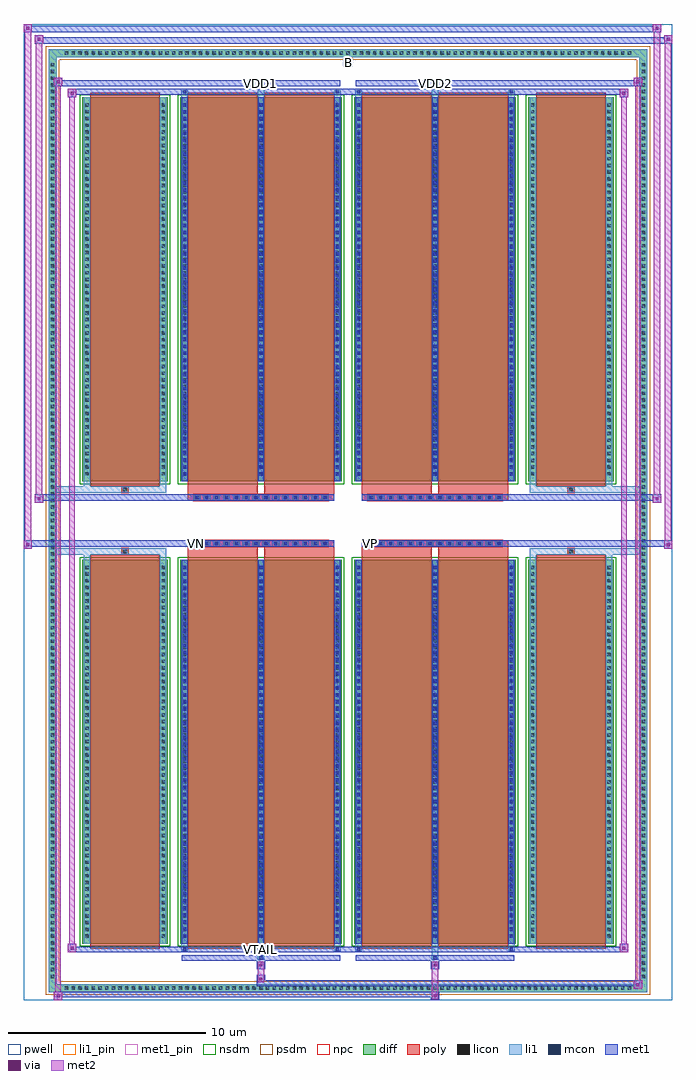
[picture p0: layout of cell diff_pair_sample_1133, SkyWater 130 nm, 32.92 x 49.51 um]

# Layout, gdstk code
import gdstk
lib = gdstk.Library(unit=1e-6, precision=5e-09)
def R(c, l, rs):  # rectangles x0, y0, x1, y1
    for r in rs: c.add(gdstk.rectangle(r[:2], r[2:], *l))
def A(c, l, x, y, w, h, nx, ny, dx, dy):  # array of equal rectangles
    R(c, l, [(x+i*dx, y+j*dy, x+i*dx+w, y+j*dy+h) for i in range(nx) for j in range(ny)])
def P(c, l, *ps):  # polygons
    for p in ps: c.add(gdstk.Polygon(p, *l))
pwell = (64, 44)
diff = (65, 20)
poly = (66, 20)
licon = (66, 44)
li1_pin = (67, 16)
li1 = (67, 20)
mcon = (67, 44)
met1_pin = (68, 16)
met1 = (68, 20)
via = (68, 44)
met2 = (69, 20)
nsdm = (93, 44)
psdm = (94, 20)
npc = (95, 20)

diff_pair_sample_1133 = lib.new_cell('diff_pair_sample_1133')
R(diff_pair_sample_1133, pwell, [(-16.46,-24.32,16.46,25.19), (-13.78,-22.51,-0.01,-0.805), (0.01,-22.51,13.78,-0.805), (-13.78,0.805,-0.01,22.51), (0.01,0.805,13.78,22.51)])
A(diff_pair_sample_1133, diff, -14.485, -23.92, 0.41, 0.41, 85, 2, 0.34, 47.43)
A(diff_pair_sample_1133, diff, -15.19, -23.325, 0.41, 0.41, 1, 137, 0, 0.34)
A(diff_pair_sample_1133, diff, 14.78, -23.325, 0.41, 0.41, 1, 137, 0, 0.34)
R(diff_pair_sample_1133, diff, [(-14.485,-23.92,14.485,-23.51), (-15.19,-23.325,-14.78,23.325), (14.78,-23.325,15.19,23.325), (-13.47,-21.465,-9.15,-1.985), (-8.51,-21.465,-0.32,-1.985), (0.32,-21.465,8.51,-1.985), (9.15,-21.465,13.47,-1.985), (-13.47,1.985,-9.15,21.465), (-8.51,1.985,-0.32,21.465), (0.32,1.985,8.51,21.465), (9.15,1.985,13.47,21.465), (-14.485,23.51,14.485,23.92)])
P(diff_pair_sample_1133, diff, [(15.19,23.92),(-15.19,23.92),(-15.19,-23.51),(-14.78,-23.51),(-14.78,23.51),(14.78,23.51),(14.78,-23.51),(-14.78,-23.51),(-15.19,-23.51),(-15.19,-23.92),(15.19,-23.92)])
A(diff_pair_sample_1133, poly, -7.83, -1.335, 0.33, 0.33, 14, 2, 0.5, 2.34)
A(diff_pair_sample_1133, poly, 1, -1.335, 0.33, 0.33, 14, 2, 0.5, 2.34)
R(diff_pair_sample_1133, poly, [(-13.08,-21.715,-9.54,-1.735), (-8.12,-21.715,-4.58,-1.735), (-4.25,-21.715,-0.71,-1.735), (0.71,-21.715,4.25,-1.735), (4.58,-21.715,8.12,-1.735), (9.54,-21.715,13.08,-1.735), (-11.475,-1.735,-11.145,-1.405), (-11.475,-1.735,-11.145,-1.405), (-8.12,-1.735,-4.58,-1.335), (-4.25,-1.735,-0.71,-1.335), (0.71,-1.735,4.25,-1.335), (4.58,-1.735,8.12,-1.335), (11.145,-1.735,11.475,-1.405), (11.145,-1.735,11.475,-1.405), (-8.12,-1.335,-0.71,-1.005), (0.71,-1.335,8.12,-1.005), (-8.12,1.005,-0.71,1.335), (0.71,1.005,8.12,1.335), (-8.12,1.335,-4.58,1.735), (-4.25,1.335,-0.71,1.735), (0.71,1.335,4.25,1.735), (4.58,1.335,8.12,1.735), (-11.475,1.405,-11.145,1.735), (-11.475,1.405,-11.145,1.735), (11.145,1.405,11.475,1.735), (11.145,1.405,11.475,1.735), (-13.08,1.735,-9.54,21.715), (-8.12,1.735,-4.58,21.715), (-4.25,1.735,-0.71,21.715), (0.71,1.735,4.25,21.715), (4.58,1.735,8.12,21.715), (9.54,1.735,13.08,21.715)])
A(diff_pair_sample_1133, licon, -14.365, -23.8, 0.17, 0.17, 85, 2, 0.34, 47.43)
A(diff_pair_sample_1133, licon, -15.07, -23.205, 0.17, 0.17, 1, 137, 0, 0.34)
A(diff_pair_sample_1133, licon, 14.9, -23.205, 0.17, 0.17, 1, 137, 0, 0.34)
A(diff_pair_sample_1133, licon, -13.33, -21.16, 0.17, 0.17, 1, 56, 0, 0.34)
A(diff_pair_sample_1133, licon, -9.46, -21.16, 0.17, 0.17, 1, 56, 0, 0.34)
A(diff_pair_sample_1133, licon, -8.37, -21.16, 0.17, 0.17, 3, 56, 3.87, 0.34)
A(diff_pair_sample_1133, licon, 0.46, -21.16, 0.17, 0.17, 3, 56, 3.87, 0.34)
A(diff_pair_sample_1133, licon, 9.29, -21.16, 0.17, 0.17, 1, 56, 0, 0.34)
A(diff_pair_sample_1133, licon, 13.16, -21.16, 0.17, 0.17, 1, 56, 0, 0.34)
A(diff_pair_sample_1133, licon, -7.75, -1.255, 0.17, 0.17, 14, 2, 0.5, 2.34)
A(diff_pair_sample_1133, licon, 1.08, -1.255, 0.17, 0.17, 14, 2, 0.5, 2.34)
A(diff_pair_sample_1133, licon, -13.33, 2.29, 0.17, 0.17, 1, 56, 0, 0.34)
A(diff_pair_sample_1133, licon, -9.46, 2.29, 0.17, 0.17, 1, 56, 0, 0.34)
A(diff_pair_sample_1133, licon, -8.37, 2.29, 0.17, 0.17, 3, 56, 3.87, 0.34)
A(diff_pair_sample_1133, licon, 0.46, 2.29, 0.17, 0.17, 3, 56, 3.87, 0.34)
A(diff_pair_sample_1133, licon, 9.29, 2.29, 0.17, 0.17, 1, 56, 0, 0.34)
A(diff_pair_sample_1133, licon, 13.16, 2.29, 0.17, 0.17, 1, 56, 0, 0.34)
R(diff_pair_sample_1133, licon, [(-11.395,-1.655,-11.225,-1.485), (11.225,-1.655,11.395,-1.485), (-11.395,1.485,-11.225,1.655), (11.225,1.485,11.395,1.655)])
R(diff_pair_sample_1133, li1_pin, [(-0.25,23.01,0.25,23.51)])
A(diff_pair_sample_1133, li1, -14.445, -23.88, 0.33, 0.33, 85, 2, 0.34, 47.43)
A(diff_pair_sample_1133, li1, -15.15, -23.285, 0.33, 0.33, 1, 137, 0, 0.34)
A(diff_pair_sample_1133, li1, 14.82, -23.285, 0.33, 0.33, 1, 137, 0, 0.34)
A(diff_pair_sample_1133, li1, -8.45, -21.465, 0.33, 19.48, 3, 2, 3.87, 23.45)
A(diff_pair_sample_1133, li1, 0.38, -21.465, 0.33, 19.48, 3, 2, 3.87, 23.45)
A(diff_pair_sample_1133, li1, -13.41, -21.24, 0.33, 0.33, 1, 56, 0, 0.34)
A(diff_pair_sample_1133, li1, -9.54, -21.24, 0.33, 0.33, 1, 56, 0, 0.34)
A(diff_pair_sample_1133, li1, -8.45, -21.24, 0.33, 0.33, 3, 56, 3.87, 0.34)
A(diff_pair_sample_1133, li1, 0.38, -21.24, 0.33, 0.33, 3, 56, 3.87, 0.34)
A(diff_pair_sample_1133, li1, 9.21, -21.24, 0.33, 0.33, 1, 56, 0, 0.34)
A(diff_pair_sample_1133, li1, 13.08, -21.24, 0.33, 0.33, 1, 56, 0, 0.34)
A(diff_pair_sample_1133, li1, -8.37, -21.17, 0.17, 0.17, 3, 53, 3.87, 0.36)
A(diff_pair_sample_1133, li1, -8.37, -21.17, 0.17, 18.89, 3, 2, 3.87, 23.45)
A(diff_pair_sample_1133, li1, 0.46, -21.17, 0.17, 0.17, 3, 53, 3.87, 0.36)
A(diff_pair_sample_1133, li1, 0.46, -21.17, 0.17, 18.89, 3, 2, 3.87, 23.45)
A(diff_pair_sample_1133, li1, -7.83, -1.335, 0.33, 0.33, 14, 2, 0.5, 2.34)
A(diff_pair_sample_1133, li1, 1, -1.335, 0.33, 0.33, 14, 2, 0.5, 2.34)
A(diff_pair_sample_1133, li1, -13.41, 2.21, 0.33, 0.33, 1, 56, 0, 0.34)
A(diff_pair_sample_1133, li1, -9.54, 2.21, 0.33, 0.33, 1, 56, 0, 0.34)
A(diff_pair_sample_1133, li1, -8.45, 2.21, 0.33, 0.33, 3, 56, 3.87, 0.34)
A(diff_pair_sample_1133, li1, 0.38, 2.21, 0.33, 0.33, 3, 56, 3.87, 0.34)
A(diff_pair_sample_1133, li1, 9.21, 2.21, 0.33, 0.33, 1, 56, 0, 0.34)
A(diff_pair_sample_1133, li1, 13.08, 2.21, 0.33, 0.33, 1, 56, 0, 0.34)
A(diff_pair_sample_1133, li1, -8.37, 2.28, 0.17, 0.17, 3, 53, 3.87, 0.36)
A(diff_pair_sample_1133, li1, 0.46, 2.28, 0.17, 0.17, 3, 53, 3.87, 0.36)
R(diff_pair_sample_1133, li1, [(-15.19,-23.92,-14.78,-23.51), (-15.19,-23.92,-14.78,-23.51), (-14.78,-23.92,14.78,-23.51), (14.78,-23.92,15.19,-23.51), (14.78,-23.92,15.19,-23.51), (-15.19,-23.51,-14.78,23.51), (14.78,-23.51,15.19,23.51), (-4.58,-22.27,-4.25,-21.465), (-4.5,-22.27,-4.33,-22.1), (4.25,-22.27,4.58,-21.465), (4.33,-22.27,4.5,-22.1), (-8.45,-21.84,-8.12,-21.465), (-8.37,-21.84,-8.2,-21.67), (-0.71,-21.84,-0.38,-21.465), (-0.63,-21.84,-0.46,-21.67), (0.38,-21.84,0.71,-21.465), (0.46,-21.84,0.63,-21.67), (8.12,-21.84,8.45,-21.465), (8.2,-21.84,8.37,-21.67), (-13.41,-21.465,-13.08,-1.985), (-9.54,-21.465,-9.21,-1.985), (9.21,-21.465,9.54,-1.985), (13.08,-21.465,13.41,-1.985), (-13.41,-1.985,-13.08,-1.405), (-9.54,-1.985,-9.21,-1.405), (9.21,-1.985,9.54,-1.405), (13.08,-1.985,13.41,-1.405), (-15.19,-1.735,-11.475,-1.405), (-13.41,-1.735,-11.475,-1.405), (-11.475,-1.735,-11.145,-1.405), (-11.145,-1.735,-9.21,-1.405), (9.21,-1.735,11.145,-1.405), (11.145,-1.735,11.475,-1.405), (11.145,-1.735,15.19,-1.405), (11.475,-1.735,13.41,-1.405), (-15.19,1.405,-11.475,1.735), (-13.41,1.405,-11.475,1.735), (-13.41,1.405,-13.08,1.985), (-11.475,1.405,-11.145,1.735), (-11.145,1.405,-9.21,1.735), (-9.54,1.405,-9.21,1.985), (9.21,1.405,11.145,1.735), (9.21,1.405,9.54,1.985), (11.145,1.405,11.475,1.735), (11.145,1.405,15.19,1.735), (11.475,1.405,13.41,1.735), (13.08,1.405,13.41,1.985), (-13.41,1.985,-13.08,21.465), (-9.54,1.985,-9.21,21.465), (9.21,1.985,9.54,21.465), (13.08,1.985,13.41,21.465), (-8.45,21.465,-8.12,21.84), (-4.58,21.465,-4.25,22.27), (-0.71,21.465,-0.38,21.84), (0.38,21.465,0.71,21.84), (4.25,21.465,4.58,22.27), (8.12,21.465,8.45,21.84), (-8.37,21.67,-8.2,21.84), (-0.63,21.67,-0.46,21.84), (0.46,21.67,0.63,21.84), (8.2,21.67,8.37,21.84), (-4.5,22.1,-4.33,22.27), (4.33,22.1,4.5,22.27), (-15.19,23.51,-14.78,23.92), (-15.19,23.51,-14.78,23.92), (-14.78,23.51,14.78,23.92), (14.78,23.51,15.19,23.92), (14.78,23.51,15.19,23.92)])
A(diff_pair_sample_1133, mcon, -8.37, -21.17, 0.17, 0.17, 3, 53, 3.87, 0.36)
A(diff_pair_sample_1133, mcon, 0.46, -21.17, 0.17, 0.17, 3, 53, 3.87, 0.36)
A(diff_pair_sample_1133, mcon, -7.75, -1.255, 0.17, 0.17, 14, 2, 0.5, 2.34)
A(diff_pair_sample_1133, mcon, 1.08, -1.255, 0.17, 0.17, 14, 2, 0.5, 2.34)
A(diff_pair_sample_1133, mcon, -8.37, 2.28, 0.17, 0.17, 3, 53, 3.87, 0.36)
A(diff_pair_sample_1133, mcon, 0.46, 2.28, 0.17, 0.17, 3, 53, 3.87, 0.36)
R(diff_pair_sample_1133, mcon, [(-4.5,-22.27,-4.33,-22.1), (4.33,-22.27,4.5,-22.1), (-8.37,-21.84,-8.2,-21.67), (-0.63,-21.84,-0.46,-21.67), (0.46,-21.84,0.63,-21.67), (8.2,-21.84,8.37,-21.67), (-8.37,21.67,-8.2,21.84), (-0.63,21.67,-0.46,21.84), (0.46,21.67,0.63,21.84), (8.2,21.67,8.37,21.84), (-4.5,22.1,-4.33,22.27), (4.33,22.1,4.5,22.27)])
R(diff_pair_sample_1133, met1_pin, [(-4.55,-21.88,-4.28,-21.61), (-7.8,-1.295,-7.53,-1.025), (1.03,-1.295,1.3,-1.025), (-4.55,22.06,-4.28,22.33), (4.28,22.06,4.55,22.33)])
A(diff_pair_sample_1133, met1, -8.43, -21.465, 0.29, 19.48, 3, 2, 3.87, 23.45)
A(diff_pair_sample_1133, met1, 0.4, -21.465, 0.29, 19.48, 3, 2, 3.87, 23.45)
A(diff_pair_sample_1133, met1, -8.43, -21.23, 0.29, 0.29, 3, 53, 3.87, 0.36)
A(diff_pair_sample_1133, met1, 0.4, -21.23, 0.29, 0.29, 3, 53, 3.87, 0.36)
A(diff_pair_sample_1133, met1, -7.81, -1.315, 0.29, 0.29, 14, 2, 0.5, 2.34)
A(diff_pair_sample_1133, met1, 1.02, -1.315, 0.29, 0.29, 14, 2, 0.5, 2.34)
A(diff_pair_sample_1133, met1, -8.43, 2.22, 0.29, 0.29, 3, 53, 3.87, 0.36)
A(diff_pair_sample_1133, met1, 0.4, 2.22, 0.29, 0.29, 3, 53, 3.87, 0.36)
R(diff_pair_sample_1133, met1, [(-14.92,-24.32,-14.49,-23.89), (4.2,-24.32,4.63,-23.89), (-14.92,-24.18,4.63,-23.89), (14.49,-23.75,14.92,-23.32), (-4.63,-23.61,14.92,-23.32), (-4.63,-23.47,-4.2,-23.04), (-4.63,-22.76,-4.2,-22.33), (4.2,-22.76,4.63,-22.33), (-8.43,-22.33,-0.4,-22.04), (-4.56,-22.33,-4.27,-22.04), (0.4,-22.33,8.43,-22.04), (4.27,-22.33,4.56,-22.04), (-14.21,-21.9,-13.78,-21.47), (-14.21,-21.9,-8.43,-21.61), (-8.43,-21.9,-8.14,-21.61), (-8.43,-21.9,-0.4,-21.61), (-0.69,-21.9,-0.4,-21.61), (-0.4,-21.9,0.4,-21.61), (0.4,-21.9,0.69,-21.61), (0.4,-21.9,8.43,-21.61), (8.14,-21.9,8.43,-21.61), (8.43,-21.9,14.21,-21.61), (13.78,-21.9,14.21,-21.47), (-16.46,-1.435,-16.03,-1.005), (16.03,-1.435,16.46,-1.005), (-16.46,-1.335,-0.71,-1.005), (-8.12,-1.335,-0.71,-1.005), (0.71,-1.335,8.12,-1.005), (0.71,-1.335,16.46,-1.005), (-15.89,0.905,-15.46,1.335), (15.46,0.905,15.89,1.335), (-15.89,1.005,-8.12,1.335), (-8.12,1.005,-0.71,1.335), (0.71,1.005,8.12,1.335), (8.12,1.005,15.89,1.335), (-14.21,21.47,-13.78,21.9), (13.78,21.47,14.21,21.9), (-14.21,21.61,-8.43,21.9), (-8.43,21.61,-8.14,21.9), (-8.43,21.61,-0.4,21.9), (-0.69,21.61,-0.4,21.9), (-0.4,21.61,0.4,21.9), (0.4,21.61,0.69,21.9), (0.4,21.61,8.43,21.9), (8.14,21.61,8.43,21.9), (8.43,21.61,14.21,21.9), (-14.92,22.04,-14.49,22.47), (-14.92,22.04,-8.43,22.33), (-8.43,22.04,-0.4,22.33), (-4.56,22.04,-4.27,22.33), (0.4,22.04,8.43,22.33), (4.27,22.04,4.56,22.33), (8.43,22.04,14.92,22.33), (14.49,22.04,14.92,22.47), (-15.89,24.19,-15.46,24.62), (-15.89,24.19,-13.78,24.52), (-13.78,24.19,13.78,24.52), (13.78,24.19,16.46,24.52), (16.03,24.19,16.46,24.62), (-16.46,24.76,-16.03,25.19), (-16.46,24.76,-13.78,25.09), (-13.78,24.76,13.78,25.09), (13.78,24.76,15.89,25.09), (15.46,24.76,15.89,25.19)])
R(diff_pair_sample_1133, via, [(-14.78,-24.18,-14.63,-24.03), (4.34,-24.18,4.49,-24.03), (14.63,-23.61,14.78,-23.46), (-4.49,-23.33,-4.34,-23.18), (-4.49,-22.62,-4.34,-22.47), (4.34,-22.62,4.49,-22.47), (-14.07,-21.76,-13.92,-21.61), (13.92,-21.76,14.07,-21.61), (-16.32,-1.295,-16.17,-1.145), (16.17,-1.295,16.32,-1.145), (-15.75,1.045,-15.6,1.195), (15.6,1.045,15.75,1.195), (-14.07,21.61,-13.92,21.76), (13.92,21.61,14.07,21.76), (-14.78,22.18,-14.63,22.33), (14.63,22.18,14.78,22.33), (-15.75,24.33,-15.6,24.48), (16.17,24.33,16.32,24.48), (-16.32,24.9,-16.17,25.05), (15.6,24.9,15.75,25.05)])
R(diff_pair_sample_1133, met2, [(-14.92,-24.32,-14.49,-23.89), (-14.85,-24.32,-14.56,22.47), (-14.56,-24.32,-14.49,-23.89), (-14.87,-24.27,-14.54,-23.94), (4.25,-24.27,4.58,-23.94), (4.25,-23.94,4.58,-22.71), (14.49,-23.75,14.92,-23.32), (14.56,-23.75,14.85,22.47), (14.85,-23.75,14.92,-23.32), (14.54,-23.7,14.87,-23.37), (-4.58,-23.42,-4.25,-23.09), (-4.58,-23.09,-4.25,-22.71), (-4.58,-22.71,-4.25,-22.38), (4.25,-22.71,4.58,-22.38), (-14.21,-21.9,-13.78,-21.47), (-14.14,-21.9,-13.85,21.9), (-13.85,-21.9,-13.78,-21.47), (13.78,-21.9,14.21,-21.47), (13.85,-21.9,14.14,21.9), (14.14,-21.9,14.21,-21.47), (-14.16,-21.85,-13.83,-21.52), (13.83,-21.85,14.16,-21.52), (-16.46,-1.435,-16.03,-1.005), (-16.41,-1.435,-16.08,25.19), (-16.08,-1.435,-16.03,-1.005), (16.03,-1.435,16.46,-1.005), (16.08,-1.435,16.41,24.62), (16.41,-1.435,16.46,-1.005), (-16.41,-1.385,-16.08,-1.055), (16.08,-1.385,16.41,-1.055), (-15.89,0.905,-15.46,1.335), (-15.84,0.905,-15.51,24.62), (-15.51,0.905,-15.46,1.335), (15.46,0.905,15.89,1.335), (15.51,0.905,15.84,25.19), (15.84,0.905,15.89,1.335), (-15.84,0.955,-15.51,1.285), (15.51,0.955,15.84,1.285), (-14.21,21.47,-13.78,21.9), (-13.85,21.47,-13.78,21.9), (13.78,21.47,14.21,21.9), (14.14,21.47,14.21,21.9), (-14.16,21.52,-13.83,21.85), (13.83,21.52,14.16,21.85), (-14.92,22.04,-14.49,22.47), (-14.56,22.04,-14.49,22.47), (14.49,22.04,14.92,22.47), (14.85,22.04,14.92,22.47), (-14.87,22.09,-14.54,22.42), (14.54,22.09,14.87,22.42), (-15.89,24.19,-15.46,24.62), (-15.51,24.19,-15.46,24.62), (16.03,24.19,16.46,24.62), (16.41,24.19,16.46,24.62), (-15.84,24.24,-15.51,24.57), (16.08,24.24,16.41,24.57), (-16.46,24.76,-16.03,25.19), (-16.08,24.76,-16.03,25.19), (15.46,24.76,15.89,25.19), (15.84,24.76,15.89,25.19), (-16.41,24.81,-16.08,25.14), (15.51,24.81,15.84,25.14)])
R(diff_pair_sample_1133, nsdm, [(-13.6,-21.595,-9.02,-1.855), (-8.64,-21.595,-0.19,-1.855), (0.19,-21.595,8.64,-1.855), (9.02,-21.595,13.6,-1.855), (-13.6,1.855,-9.02,21.595), (-8.64,1.855,-0.19,21.595), (0.19,1.855,8.64,21.595), (9.02,1.855,13.6,21.595)])
P(diff_pair_sample_1133, psdm, [(15.32,24.05),(-15.32,24.05),(-15.32,-23.38),(-14.65,-23.38),(-14.65,23.38),(14.65,23.38),(14.65,-23.38),(-14.65,-23.38),(-15.32,-23.38),(-15.32,-24.05),(15.32,-24.05)])
A(diff_pair_sample_1133, npc, -7.85, -1.355, 0.37, 0.37, 14, 2, 0.5, 2.34)
A(diff_pair_sample_1133, npc, 0.98, -1.355, 0.37, 0.37, 14, 2, 0.5, 2.34)
R(diff_pair_sample_1133, npc, [(-11.495,-1.755,-11.125,-1.385), (11.125,-1.755,11.495,-1.385), (-7.85,-1.355,-6.98,-0.985), (-7.85,-1.355,-6.98,-0.985), (-7.35,-1.355,-6.48,-0.985), (-7.35,-1.355,-6.48,-0.985), (-6.85,-1.355,-5.98,-0.985), (-6.85,-1.355,-5.98,-0.985), (-6.35,-1.355,-5.48,-0.985), (-6.35,-1.355,-5.48,-0.985), (-5.85,-1.355,-4.98,-0.985), (-5.85,-1.355,-4.98,-0.985), (-5.35,-1.355,-4.48,-0.985), (-5.35,-1.355,-4.48,-0.985), (-4.85,-1.355,-3.98,-0.985), (-4.85,-1.355,-3.98,-0.985), (-4.35,-1.355,-3.48,-0.985), (-4.35,-1.355,-3.48,-0.985), (-3.85,-1.355,-2.98,-0.985), (-3.85,-1.355,-2.98,-0.985), (-3.35,-1.355,-2.48,-0.985), (-3.35,-1.355,-2.48,-0.985), (-2.85,-1.355,-1.98,-0.985), (-2.85,-1.355,-1.98,-0.985), (-2.35,-1.355,-1.48,-0.985), (-2.35,-1.355,-1.48,-0.985), (-1.85,-1.355,-0.98,-0.985), (-1.85,-1.355,-0.98,-0.985), (0.98,-1.355,1.85,-0.985), (0.98,-1.355,1.85,-0.985), (1.48,-1.355,2.35,-0.985), (1.48,-1.355,2.35,-0.985), (1.98,-1.355,2.85,-0.985), (1.98,-1.355,2.85,-0.985), (2.48,-1.355,3.35,-0.985), (2.48,-1.355,3.35,-0.985), (2.98,-1.355,3.85,-0.985), (2.98,-1.355,3.85,-0.985), (3.48,-1.355,4.35,-0.985), (3.48,-1.355,4.35,-0.985), (3.98,-1.355,4.85,-0.985), (3.98,-1.355,4.85,-0.985), (4.48,-1.355,5.35,-0.985), (4.48,-1.355,5.35,-0.985), (4.98,-1.355,5.85,-0.985), (4.98,-1.355,5.85,-0.985), (5.48,-1.355,6.35,-0.985), (5.48,-1.355,6.35,-0.985), (5.98,-1.355,6.85,-0.985), (5.98,-1.355,6.85,-0.985), (6.48,-1.355,7.35,-0.985), (6.48,-1.355,7.35,-0.985), (6.98,-1.355,7.85,-0.985), (6.98,-1.355,7.85,-0.985), (-7.85,0.985,-6.98,1.355), (-7.85,0.985,-6.98,1.355), (-7.35,0.985,-6.48,1.355), (-7.35,0.985,-6.48,1.355), (-6.85,0.985,-5.98,1.355), (-6.85,0.985,-5.98,1.355), (-6.35,0.985,-5.48,1.355), (-6.35,0.985,-5.48,1.355), (-5.85,0.985,-4.98,1.355), (-5.85,0.985,-4.98,1.355), (-5.35,0.985,-4.48,1.355), (-5.35,0.985,-4.48,1.355), (-4.85,0.985,-3.98,1.355), (-4.85,0.985,-3.98,1.355), (-4.35,0.985,-3.48,1.355), (-4.35,0.985,-3.48,1.355), (-3.85,0.985,-2.98,1.355), (-3.85,0.985,-2.98,1.355), (-3.35,0.985,-2.48,1.355), (-3.35,0.985,-2.48,1.355), (-2.85,0.985,-1.98,1.355), (-2.85,0.985,-1.98,1.355), (-2.35,0.985,-1.48,1.355), (-2.35,0.985,-1.48,1.355), (-1.85,0.985,-0.98,1.355), (-1.85,0.985,-0.98,1.355), (0.98,0.985,1.85,1.355), (0.98,0.985,1.85,1.355), (1.48,0.985,2.35,1.355), (1.48,0.985,2.35,1.355), (1.98,0.985,2.85,1.355), (1.98,0.985,2.85,1.355), (2.48,0.985,3.35,1.355), (2.48,0.985,3.35,1.355), (2.98,0.985,3.85,1.355), (2.98,0.985,3.85,1.355), (3.48,0.985,4.35,1.355), (3.48,0.985,4.35,1.355), (3.98,0.985,4.85,1.355), (3.98,0.985,4.85,1.355), (4.48,0.985,5.35,1.355), (4.48,0.985,5.35,1.355), (4.98,0.985,5.85,1.355), (4.98,0.985,5.85,1.355), (5.48,0.985,6.35,1.355), (5.48,0.985,6.35,1.355), (5.98,0.985,6.85,1.355), (5.98,0.985,6.85,1.355), (6.48,0.985,7.35,1.355), (6.48,0.985,7.35,1.355), (6.98,0.985,7.85,1.355), (6.98,0.985,7.85,1.355), (-11.495,1.385,-11.125,1.755), (11.125,1.385,11.495,1.755)])
diff_pair_sample_1133.add(gdstk.Label('VTAIL', (-4.415,-21.745), layer=68, texttype=5))
diff_pair_sample_1133.add(gdstk.Label('VN', (-7.665,-1.16), layer=68, texttype=5))
diff_pair_sample_1133.add(gdstk.Label('VP', (1.165,-1.16), layer=68, texttype=5))
diff_pair_sample_1133.add(gdstk.Label('B', (0,23.26), layer=67, texttype=5))
diff_pair_sample_1133.add(gdstk.Label('VDD2', (4.415,22.195), layer=68, texttype=5))
diff_pair_sample_1133.add(gdstk.Label('VDD1', (-4.415,22.195), layer=68, texttype=5))

lib.write_gds('diff_pair_sample_1133.gds')
